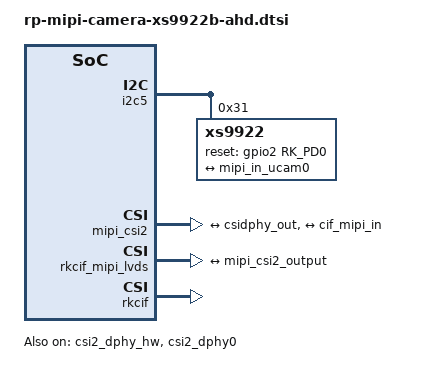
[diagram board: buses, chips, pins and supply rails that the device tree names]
/**
 * mipi csi to xs9922b config
 */


&i2c5 {
        status = "okay";
        xs9922: xs9922@31 {
                compatible = "xs9922";
                status = "okay";
                reg = <0x31>;
                clocks = <&cru CLK_CAM0_OUT>;
                clock-names = "xvclk";
                power-domains = <&power RK3568_PD_VI>;
                //pinctrl-names = "default";
                // pinctrl-0 = <&cif_clk>;
        pinctrl-names = "default";
        pinctrl-0 = <&xs9922_pwr>;
                reset-gpios = <&gpio2 RK_PD0 GPIO_ACTIVE_HIGH>;
    //    power-gpio = <&gpio2 RK_PD2 GPIO_ACTIVE_HIGH>;
                //avdd-supply = <&vcc_avdd>;
                //dovdd-supply = <&vcc_dovdd>;
                //dvdd-supply = <&vcc_dvdd>;
                rockchip,camera-module-index = <0>;
                rockchip,camera-module-facing = "back";
                rockchip,camera-module-name = "default";
                rockchip,camera-module-lens-name = "default";
                rockchip,default_rect= <1920 1080>; 
                port {
                        ucam_out0: endpoint {
                                remote-endpoint = <&mipi_in_ucam0>;
                                data-lanes = <1 2 3 4>;
                        };
                };
        };
};

&csi2_dphy_hw {
        status = "okay";
};

&csi2_dphy0 {
        status = "okay";

        ports {
                #address-cells = <1>;
                #size-cells = <0>;
                port@0 {
                        reg = <0>;
                        #address-cells = <1>;
                        #size-cells = <0>;

                        mipi_in_ucam0: endpoint@1 {
                                reg = <1>;
                                remote-endpoint = <&ucam_out0>;
                                data-lanes = <1 2 3 4>;
                        };
                };
                port@1 {
                        reg = <1>;
                        #address-cells = <1>;
                        #size-cells = <0>;

                        csidphy_out: endpoint@1 {
                                reg = <1>;
                                remote-endpoint = <&mipi_csi2_input>;
                        };
                };
        };
};

&mipi_csi2 {
    status = "okay";
    
    ports {
        #address-cells = <1>;
        #size-cells = <0>;
        
        port@0 {
            reg = <0>;
            #address-cells = <1>;
            #size-cells = <0>;
            
            mipi_csi2_input: endpoint@1 {
                reg = <1>;
                remote-endpoint = <&csidphy_out>;
                data-lanes = <1 2 3 4>;
            };
        };

        port@1 {
            reg = <1>;
            #address-cells = <1>;
            #size-cells = <0>;
            
            mipi_csi2_output: endpoint@0 {
                reg = <0>;
                remote-endpoint = <&cif_mipi_in>;
                data-lanes = <1 2 3 4>;
            };
        };

    };
};

&rkcif_mipi_lvds {
    status = "okay";
    rockchip,cif-monitor = <3 2 5 1000 5>;
    
    port {
        cif_mipi_in: endpoint {
            remote-endpoint = <&mipi_csi2_output>;
            data-lanes = <1 2 3 4>;
        };
    };
};

&rkcif {
    status = "okay";
};

&rkcif_mmu {
        status = "okay";
};

&pinctrl {
        xs9922 {
                xs9922_pwr: camera-pwr {
                        rockchip,pins = <2 RK_PD0 RK_FUNC_GPIO &pcfg_pull_up>;
                 };
        };
};
